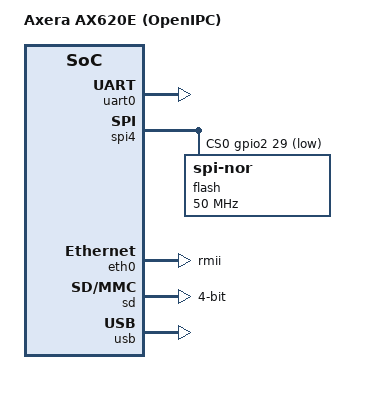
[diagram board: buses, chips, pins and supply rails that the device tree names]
// SPDX-License-Identifier: GPL-2.0+
/*
 * AX620E camera, as OpenIPC's U-Boot sees it: UART0, the boot SPI NOR on
 * the flash controller (spi4 in the vendor's devicetree), its chip select
 * on GPIO2_A29, the Ethernet MAC with its own 10/100 PHY, the SD slot and
 * the USB 2.0 host. Addresses and clocks are the vendor SDK U-Boot's
 * (arch/arm/dts/ax620e.dtsi, AX620E_nor.dts).
 */

/dts-v1/;

#include <dt-bindings/gpio/gpio.h>

/ {
	model = "Axera AX620E (OpenIPC)";
	compatible = "axera,ax620e";
	#address-cells = <2>;
	#size-cells = <2>;

	aliases {
		serial0 = &uart0;
		spi0 = &spi4;
		ethernet0 = &eth0;
		mmc0 = &sd;
	};

	chosen {
		stdout-path = "serial0:115200n8";
	};

	soc {
		compatible = "simple-bus";
		#address-cells = <2>;
		#size-cells = <2>;
		ranges;
		u-boot,dm-pre-reloc;

		uart0: serial@4880000 {
			compatible = "snps,dw-apb-uart";
			reg = <0x0 0x04880000 0x0 0x400>;
			reg-shift = <2>;
			reg-io-width = <4>;
			clock-frequency = <208000000>;
			u-boot,dm-pre-reloc;
		};

		gpio2: gpio@6000000 {
			compatible = "axera,ax620e-gpio";
			reg = <0x0 0x06000000 0x0 0x400>;
			gpio-controller;
			#gpio-cells = <2>;
			ngpios = <32>;
			gpio-bank-name = "gpio2_";
		};

		/* The boot flash controller, a DesignWare SSI */
		spi4: spi@1a00000 {
			compatible = "axera,ax620e-spi";
			reg = <0x0 0x01a00000 0x0 0x1000>;
			#address-cells = <1>;
			#size-cells = <0>;
			cs-gpios = <&gpio2 29 GPIO_ACTIVE_LOW>;
			spi-max-frequency = <50000000>;

			flash@0 {
				compatible = "jedec,spi-nor";
				reg = <0>;
				spi-max-frequency = <50000000>;
			};
		};

		eth0: ethernet@104c0000 {
			compatible = "axera,ax620e-eqos";
			reg = <0x0 0x104c0000 0x0 0x10000>;
			phy-mode = "rmii";
		};

		/*
		 * The SD slot: Cadence SD4HC, 4 bits, 3.3 V. No card detect
		 * line ("broken-cd", as in the vendor trees): the card is
		 * looked for. PHY delays as the SDK's and the cameras'
		 * kernel trees; board_init() sets the card clock and pads.
		 */
		sd: mmc@104e0000 {
			compatible = "cdns,sd4hc";
			reg = <0x0 0x104e0000 0x0 0x1000>;
			bus-width = <4>;
			sdhci-caps-mask = <0x7 0x200000>;
			cap-sd-highspeed;
			no-1-8-v;
			no-sdio;
			no-mmc;
			disable-wp;
			broken-cd;
			cdns,phy-input-delay-sd-highspeed = <0x2>;
			cdns,phy-input-delay-legacy = <0x3>;
			cdns,phy-input-delay-sd-uhs-sdr12 = <0x3>;
			cdns,phy-input-delay-sd-uhs-sdr25 = <0x2>;
			cdns,phy-input-delay-sd-uhs-sdr50 = <0x0>;
			cdns,phy-input-delay-sd-uhs-ddr50 = <0x0>;
			cdns,phy-dll-delay-sdclk = <0x0>;
		};

		/*
		 * USB 2.0: a DWC3 in host mode behind the Axera glue (its
		 * clocks, resets and host select; dwc3-axera-glue.c).
		 */
		usb {
			compatible = "axera,ax620e-dwc3";
			#address-cells = <2>;
			#size-cells = <2>;
			ranges;

			usb@8000000 {
				compatible = "snps,dwc3";
				reg = <0x0 0x08000000 0x0 0x100000>;
				dr_mode = "host";
				phy_type = "utmi";
				maximum-speed = "high-speed";
				snps,dis-u2-freeclk-exists-quirk;
			};
		};
	};
};
